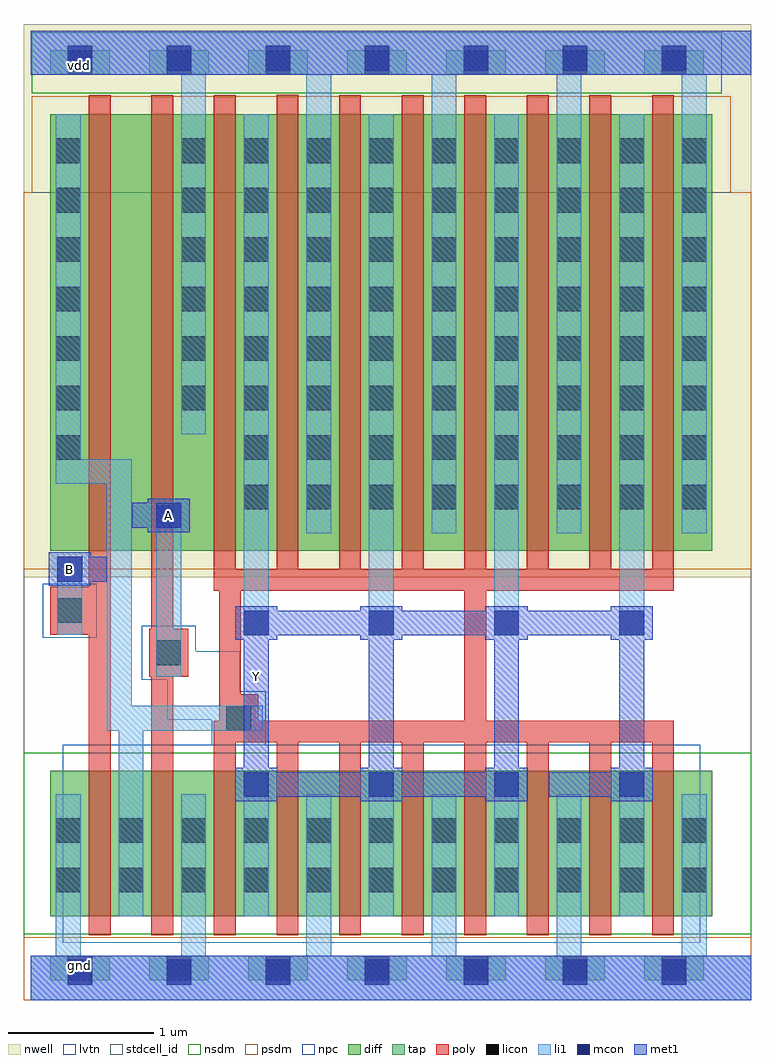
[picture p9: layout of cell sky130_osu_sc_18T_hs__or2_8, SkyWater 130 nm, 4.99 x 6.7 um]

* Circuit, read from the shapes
.subckt sky130_osu_sc_18T_hs__or2_8 A B Y gnd vdd
XM1 n1 B gnd gnd sky130_fd_pr__nfet_01v8_lvt w=1 l=0.15
XM2 gnd A n1 gnd sky130_fd_pr__nfet_01v8_lvt w=1 l=0.15
XM3 Y n1 gnd gnd sky130_fd_pr__nfet_01v8_lvt w=1 l=0.15 m=8
XM4 n2 B n1 vdd sky130_fd_pr__pfet_01v8 w=3 l=0.15
XM5 vdd A n2 vdd sky130_fd_pr__pfet_01v8 w=3 l=0.15
XM6 Y n1 vdd vdd sky130_fd_pr__pfet_01v8 w=3 l=0.15 m=8
.ends

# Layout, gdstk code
import gdstk
lib = gdstk.Library(unit=1e-6, precision=1e-09)
def R(c, l, rs):  # rectangles x0, y0, x1, y1
    for r in rs: c.add(gdstk.rectangle(r[:2], r[2:], *l))
nwell = (64, 20)
diff = (65, 20)
tap = (65, 44)
poly = (66, 20)
licon = (66, 44)
li1 = (67, 20)
mcon = (67, 44)
met1 = (68, 20)
stdcell_id = (81, 4)
nsdm = (93, 44)
psdm = (94, 20)
npc = (95, 20)
lvtn = (125, 44)

sky130_osu_sc_18t_hs__or = lib.new_cell('sky130_osu_sc_18T_hs__or2_8')
R(sky130_osu_sc_18t_hs__or, nwell, [(-0.045,2.905,4.95,6.705), (-0.045,2.905,4.95,6.705)])
R(sky130_osu_sc_18t_hs__or, diff, [(0.135,0.575,4.685,1.575), (0.135,0.575,4.685,1.575), (0.135,3.085,4.685,6.085), (0.135,3.085,4.685,6.085)])
R(sky130_osu_sc_18t_hs__or, tap, [(0.135,0.135,0.545,0.305), (0.135,0.135,0.545,0.305), (0.815,0.135,1.225,0.305), (0.815,0.135,1.225,0.305), (1.495,0.135,1.905,0.305), (1.495,0.135,1.905,0.305), (2.175,0.135,2.585,0.305), (2.175,0.135,2.585,0.305), (2.855,0.135,3.265,0.305), (2.855,0.135,3.265,0.305), (3.535,0.135,3.945,0.305), (3.535,0.135,3.945,0.305), (4.215,0.135,4.625,0.305), (4.215,0.135,4.625,0.305), (0.135,6.355,0.545,6.525), (0.135,6.355,0.545,6.525), (0.815,6.355,1.225,6.525), (0.815,6.355,1.225,6.525), (1.495,6.355,1.905,6.525), (1.495,6.355,1.905,6.525), (2.175,6.355,2.585,6.525), (2.175,6.355,2.585,6.525), (2.855,6.355,3.265,6.525), (2.855,6.355,3.265,6.525), (3.535,6.355,3.945,6.525), (3.535,6.355,3.945,6.525), (4.215,6.355,4.625,6.525), (4.215,6.355,4.625,6.525)])
R(sky130_osu_sc_18t_hs__or, poly, [(0.4,0.445,0.55,2.51), (0.4,0.445,0.55,2.51), (0.83,0.445,0.98,2.22), (0.83,0.445,0.98,2.22), (1.26,0.445,1.41,1.77), (1.26,0.445,1.41,1.77), (1.69,0.445,1.84,1.77), (1.69,0.445,1.84,1.77), (2.12,0.445,2.27,1.77), (2.12,0.445,2.27,1.77), (2.55,0.445,2.7,1.77), (2.55,0.445,2.7,1.77), (2.98,0.445,3.13,1.77), (2.98,0.445,3.13,1.77), (3.41,0.445,3.56,1.77), (3.41,0.445,3.56,1.77), (3.84,0.445,3.99,1.77), (3.84,0.445,3.99,1.77), (4.27,0.445,4.42,1.77), (4.27,0.445,4.42,1.77), (1.26,1.77,4.42,1.92), (1.26,1.77,4.42,1.92), (1.295,1.92,1.565,2.1), (1.295,1.92,1.565,2.1), (2.98,1.92,3.13,2.81), (2.98,1.92,3.13,2.81), (1.295,2.1,1.445,2.81), (1.295,2.1,1.445,2.81), (0.815,2.22,1.085,2.55), (0.815,2.22,1.085,2.55), (0.135,2.51,0.55,2.84), (0.135,2.51,0.55,2.84), (0.83,2.55,0.98,6.215), (0.83,2.55,0.98,6.215), (1.26,2.81,4.42,2.96), (1.26,2.81,4.42,2.96), (0.4,2.84,0.55,6.215), (0.4,2.84,0.55,6.215), (1.26,2.96,1.41,6.215), (1.26,2.96,1.41,6.215), (1.69,2.96,1.84,6.22), (1.69,2.96,1.84,6.22), (2.12,2.96,2.27,6.215), (2.12,2.96,2.27,6.215), (2.55,2.96,2.7,6.215), (2.55,2.96,2.7,6.215), (2.98,2.96,3.13,6.215), (2.98,2.96,3.13,6.215), (3.41,2.96,3.56,6.215), (3.41,2.96,3.56,6.215), (3.84,2.96,3.99,6.215), (3.84,2.96,3.99,6.215), (4.27,2.96,4.42,6.215), (4.27,2.96,4.42,6.215)])
R(sky130_osu_sc_18t_hs__or, licon, [(0.255,0.135,0.425,0.305), (0.255,0.135,0.425,0.305), (0.935,0.135,1.105,0.305), (0.935,0.135,1.105,0.305), (1.615,0.135,1.785,0.305), (1.615,0.135,1.785,0.305), (2.295,0.135,2.465,0.305), (2.295,0.135,2.465,0.305), (2.975,0.135,3.145,0.305), (2.975,0.135,3.145,0.305), (3.655,0.135,3.825,0.305), (3.655,0.135,3.825,0.305), (4.335,0.135,4.505,0.305), (4.335,0.135,4.505,0.305), (0.175,0.74,0.345,0.91), (0.175,0.74,0.345,0.91), (0.605,0.74,0.775,0.91), (0.605,0.74,0.775,0.91), (1.035,0.74,1.205,0.91), (1.035,0.74,1.205,0.91), (1.465,0.74,1.635,0.91), (1.465,0.74,1.635,0.91), (1.895,0.74,2.065,0.91), (1.895,0.74,2.065,0.91), (2.325,0.74,2.495,0.91), (2.325,0.74,2.495,0.91), (2.755,0.74,2.925,0.91), (2.755,0.74,2.925,0.91), (3.185,0.74,3.355,0.91), (3.185,0.74,3.355,0.91), (3.615,0.74,3.785,0.91), (3.615,0.74,3.785,0.91), (4.045,0.74,4.215,0.91), (4.045,0.74,4.215,0.91), (4.475,0.74,4.645,0.91), (4.475,0.74,4.645,0.91), (0.175,1.08,0.345,1.25), (0.175,1.08,0.345,1.25), (0.605,1.08,0.775,1.25), (0.605,1.08,0.775,1.25), (1.035,1.08,1.205,1.25), (1.035,1.08,1.205,1.25), (1.465,1.08,1.635,1.25), (1.465,1.08,1.635,1.25), (1.895,1.08,2.065,1.25), (1.895,1.08,2.065,1.25), (2.325,1.08,2.495,1.25), (2.325,1.08,2.495,1.25), (2.755,1.08,2.925,1.25), (2.755,1.08,2.925,1.25), (3.185,1.08,3.355,1.25), (3.185,1.08,3.355,1.25), (3.615,1.08,3.785,1.25), (3.615,1.08,3.785,1.25), (4.045,1.08,4.215,1.25), (4.045,1.08,4.215,1.25), (4.475,1.08,4.645,1.25), (4.475,1.08,4.645,1.25), (1.345,1.85,1.515,2.02), (1.345,1.85,1.515,2.02), (0.865,2.3,1.035,2.47), (0.865,2.3,1.035,2.47), (0.185,2.59,0.355,2.76), (0.185,2.59,0.355,2.76), (1.465,3.37,1.635,3.54), (1.465,3.37,1.635,3.54), (1.895,3.37,2.065,3.54), (1.895,3.37,2.065,3.54), (2.325,3.37,2.495,3.54), (2.325,3.37,2.495,3.54), (2.755,3.37,2.925,3.54), (2.755,3.37,2.925,3.54), (3.185,3.37,3.355,3.54), (3.185,3.37,3.355,3.54), (3.615,3.37,3.785,3.54), (3.615,3.37,3.785,3.54), (4.045,3.37,4.215,3.54), (4.045,3.37,4.215,3.54), (4.475,3.37,4.645,3.54), (4.475,3.37,4.645,3.54), (0.175,3.71,0.345,3.88), (0.175,3.71,0.345,3.88), (1.465,3.71,1.635,3.88), (1.465,3.71,1.635,3.88), (1.895,3.71,2.065,3.88), (1.895,3.71,2.065,3.88), (2.325,3.71,2.495,3.88), (2.325,3.71,2.495,3.88), (2.755,3.71,2.925,3.88), (2.755,3.71,2.925,3.88), (3.185,3.71,3.355,3.88), (3.185,3.71,3.355,3.88), (3.615,3.71,3.785,3.88), (3.615,3.71,3.785,3.88), (4.045,3.71,4.215,3.88), (4.045,3.71,4.215,3.88), (4.475,3.71,4.645,3.88), (4.475,3.71,4.645,3.88), (0.175,4.05,0.345,4.22), (0.175,4.05,0.345,4.22), (1.035,4.05,1.205,4.22), (1.035,4.05,1.205,4.22), (1.465,4.05,1.635,4.22), (1.465,4.05,1.635,4.22), (1.895,4.05,2.065,4.22), (1.895,4.05,2.065,4.22), (2.325,4.05,2.495,4.22), (2.325,4.05,2.495,4.22), (2.755,4.05,2.925,4.22), (2.755,4.05,2.925,4.22), (3.185,4.05,3.355,4.22), (3.185,4.05,3.355,4.22), (3.615,4.05,3.785,4.22), (3.615,4.05,3.785,4.22), (4.045,4.05,4.215,4.22), (4.045,4.05,4.215,4.22), (4.475,4.05,4.645,4.22), (4.475,4.05,4.645,4.22), (0.175,4.39,0.345,4.56), (0.175,4.39,0.345,4.56), (1.035,4.39,1.205,4.56), (1.035,4.39,1.205,4.56), (1.465,4.39,1.635,4.56), (1.465,4.39,1.635,4.56), (1.895,4.39,2.065,4.56), (1.895,4.39,2.065,4.56), (2.325,4.39,2.495,4.56), (2.325,4.39,2.495,4.56), (2.755,4.39,2.925,4.56), (2.755,4.39,2.925,4.56), (3.185,4.39,3.355,4.56), (3.185,4.39,3.355,4.56), (3.615,4.39,3.785,4.56), (3.615,4.39,3.785,4.56), (4.045,4.39,4.215,4.56), (4.045,4.39,4.215,4.56), (4.475,4.39,4.645,4.56), (4.475,4.39,4.645,4.56), (0.175,4.73,0.345,4.9), (0.175,4.73,0.345,4.9), (1.035,4.73,1.205,4.9), (1.035,4.73,1.205,4.9), (1.465,4.73,1.635,4.9), (1.465,4.73,1.635,4.9), (1.895,4.73,2.065,4.9), (1.895,4.73,2.065,4.9), (2.325,4.73,2.495,4.9), (2.325,4.73,2.495,4.9), (2.755,4.73,2.925,4.9), (2.755,4.73,2.925,4.9), (3.185,4.73,3.355,4.9), (3.185,4.73,3.355,4.9), (3.615,4.73,3.785,4.9), (3.615,4.73,3.785,4.9), (4.045,4.73,4.215,4.9), (4.045,4.73,4.215,4.9), (4.475,4.73,4.645,4.9), (4.475,4.73,4.645,4.9), (0.175,5.07,0.345,5.24), (0.175,5.07,0.345,5.24), (1.035,5.07,1.205,5.24), (1.035,5.07,1.205,5.24), (1.465,5.07,1.635,5.24), (1.465,5.07,1.635,5.24), (1.895,5.07,2.065,5.24), (1.895,5.07,2.065,5.24), (2.325,5.07,2.495,5.24), (2.325,5.07,2.495,5.24), (2.755,5.07,2.925,5.24), (2.755,5.07,2.925,5.24), (3.185,5.07,3.355,5.24), (3.185,5.07,3.355,5.24), (3.615,5.07,3.785,5.24), (3.615,5.07,3.785,5.24), (4.045,5.07,4.215,5.24), (4.045,5.07,4.215,5.24), (4.475,5.07,4.645,5.24), (4.475,5.07,4.645,5.24), (0.175,5.41,0.345,5.58), (0.175,5.41,0.345,5.58), (1.035,5.41,1.205,5.58), (1.035,5.41,1.205,5.58), (1.465,5.41,1.635,5.58), (1.465,5.41,1.635,5.58), (1.895,5.41,2.065,5.58), (1.895,5.41,2.065,5.58), (2.325,5.41,2.495,5.58), (2.325,5.41,2.495,5.58), (2.755,5.41,2.925,5.58), (2.755,5.41,2.925,5.58), (3.185,5.41,3.355,5.58), (3.185,5.41,3.355,5.58), (3.615,5.41,3.785,5.58), (3.615,5.41,3.785,5.58), (4.045,5.41,4.215,5.58), (4.045,5.41,4.215,5.58), (4.475,5.41,4.645,5.58), (4.475,5.41,4.645,5.58), (0.175,5.75,0.345,5.92), (0.175,5.75,0.345,5.92), (1.035,5.75,1.205,5.92), (1.035,5.75,1.205,5.92), (1.465,5.75,1.635,5.92), (1.465,5.75,1.635,5.92), (1.895,5.75,2.065,5.92), (1.895,5.75,2.065,5.92), (2.325,5.75,2.495,5.92), (2.325,5.75,2.495,5.92), (2.755,5.75,2.925,5.92), (2.755,5.75,2.925,5.92), (3.185,5.75,3.355,5.92), (3.185,5.75,3.355,5.92), (3.615,5.75,3.785,5.92), (3.615,5.75,3.785,5.92), (4.045,5.75,4.215,5.92), (4.045,5.75,4.215,5.92), (4.475,5.75,4.645,5.92), (4.475,5.75,4.645,5.92), (0.255,6.355,0.425,6.525), (0.255,6.355,0.425,6.525), (0.935,6.355,1.105,6.525), (0.935,6.355,1.105,6.525), (1.615,6.355,1.785,6.525), (1.615,6.355,1.785,6.525), (2.295,6.355,2.465,6.525), (2.295,6.355,2.465,6.525), (2.975,6.355,3.145,6.525), (2.975,6.355,3.145,6.525), (3.655,6.355,3.825,6.525), (3.655,6.355,3.825,6.525), (4.335,6.355,4.505,6.525), (4.335,6.355,4.505,6.525)])
R(sky130_osu_sc_18t_hs__or, li1, [(0,0,4.95,0.305), (0,0,4.95,0.305), (0.175,0.305,0.345,1.415), (0.175,0.305,0.345,1.415), (1.035,0.305,1.205,1.415), (1.035,0.305,1.205,1.415), (1.895,0.305,2.065,1.415), (1.895,0.305,2.065,1.415), (2.755,0.305,2.925,1.415), (2.755,0.305,2.925,1.415), (3.615,0.305,3.785,1.415), (3.615,0.305,3.785,1.415), (4.475,0.305,4.645,1.415), (4.475,0.305,4.645,1.415), (0.605,0.575,0.775,1.85), (0.605,0.575,0.775,1.85), (1.465,0.575,1.635,1.565), (1.465,0.575,1.635,1.565), (2.325,0.575,2.495,1.565), (2.325,0.575,2.495,1.565), (3.185,0.575,3.355,1.565), (3.185,0.575,3.355,1.565), (4.045,0.575,4.215,1.565), (4.045,0.575,4.215,1.565), (0.525,1.85,1.595,2.02), (0.525,1.85,1.595,2.02), (0.525,2.02,0.695,3.545), (0.525,2.02,0.695,3.545), (0.865,2.22,1.035,3.415), (0.865,2.22,1.035,3.415), (1.465,2.505,1.635,6.085), (1.465,2.505,1.635,6.085), (2.325,2.505,2.495,6.085), (2.325,2.505,2.495,6.085), (3.185,2.505,3.355,6.085), (3.185,2.505,3.355,6.085), (4.045,2.505,4.215,6.085), (4.045,2.505,4.215,6.085), (0.185,2.51,0.355,3.045), (0.185,2.51,0.355,3.045), (1.895,3.205,2.065,6.355), (1.895,3.205,2.065,6.355), (2.755,3.205,2.925,6.355), (2.755,3.205,2.925,6.355), (3.615,3.205,3.785,6.355), (3.615,3.205,3.785,6.355), (4.475,3.205,4.645,6.355), (4.475,3.205,4.645,6.355), (0.175,3.545,0.695,3.715), (0.175,3.545,0.695,3.715), (0.175,3.715,0.345,6.085), (0.175,3.715,0.345,6.085), (1.035,3.885,1.205,6.355), (1.035,3.885,1.205,6.355), (0,6.355,4.95,6.66), (0,6.355,4.95,6.66)])
R(sky130_osu_sc_18t_hs__or, mcon, [(0.255,0.105,0.425,0.275), (0.255,0.105,0.425,0.275), (0.935,0.105,1.105,0.275), (0.935,0.105,1.105,0.275), (1.615,0.105,1.785,0.275), (1.615,0.105,1.785,0.275), (2.295,0.105,2.465,0.275), (2.295,0.105,2.465,0.275), (2.975,0.105,3.145,0.275), (2.975,0.105,3.145,0.275), (3.655,0.105,3.825,0.275), (3.655,0.105,3.825,0.275), (4.335,0.105,4.505,0.275), (4.335,0.105,4.505,0.275), (1.465,1.395,1.635,1.565), (1.465,1.395,1.635,1.565), (2.325,1.395,2.495,1.565), (2.325,1.395,2.495,1.565), (3.185,1.395,3.355,1.565), (3.185,1.395,3.355,1.565), (4.045,1.395,4.215,1.565), (4.045,1.395,4.215,1.565), (1.465,2.505,1.635,2.675), (1.465,2.505,1.635,2.675), (2.325,2.505,2.495,2.675), (2.325,2.505,2.495,2.675), (3.185,2.505,3.355,2.675), (3.185,2.505,3.355,2.675), (4.045,2.505,4.215,2.675), (4.045,2.505,4.215,2.675), (0.185,2.875,0.355,3.045), (0.185,2.875,0.355,3.045), (0.865,3.245,1.035,3.415), (0.865,3.245,1.035,3.415), (0.255,6.385,0.425,6.555), (0.255,6.385,0.425,6.555), (0.935,6.385,1.105,6.555), (0.935,6.385,1.105,6.555), (1.615,6.385,1.785,6.555), (1.615,6.385,1.785,6.555), (2.295,6.385,2.465,6.555), (2.295,6.385,2.465,6.555), (2.975,6.385,3.145,6.555), (2.975,6.385,3.145,6.555), (3.655,6.385,3.825,6.555), (3.655,6.385,3.825,6.555), (4.335,6.385,4.505,6.555), (4.335,6.385,4.505,6.555)])
R(sky130_osu_sc_18t_hs__or, met1, [(0,0,4.95,0.305), (0,0,4.95,0.305), (1.405,1.365,1.695,1.395), (1.405,1.365,1.695,1.395), (2.265,1.365,2.555,1.395), (2.265,1.365,2.555,1.395), (3.125,1.365,3.415,1.395), (3.125,1.365,3.415,1.395), (3.985,1.365,4.275,1.395), (3.985,1.365,4.275,1.395), (1.405,1.395,3.415,1.565), (1.405,1.395,3.415,1.565), (3.56,1.395,4.275,1.565), (3.56,1.395,4.275,1.565), (1.405,1.565,1.695,1.595), (1.405,1.565,1.695,1.595), (2.265,1.565,2.555,1.595), (2.265,1.565,2.555,1.595), (3.125,1.565,3.415,1.595), (3.125,1.565,3.415,1.595), (3.985,1.565,4.275,1.595), (3.985,1.565,4.275,1.595), (1.465,1.595,1.635,2.475), (1.465,1.595,1.635,2.475), (2.325,1.595,2.495,2.475), (2.325,1.595,2.495,2.475), (3.185,1.595,3.355,2.475), (3.185,1.595,3.355,2.475), (4.045,1.595,4.215,2.475), (4.045,1.595,4.215,2.475), (1.405,2.475,1.695,2.505), (1.405,2.475,1.695,2.505), (2.265,2.475,2.555,2.505), (2.265,2.475,2.555,2.505), (3.125,2.475,3.415,2.505), (3.125,2.475,3.415,2.505), (3.985,2.475,4.275,2.505), (3.985,2.475,4.275,2.505), (1.405,2.505,4.275,2.675), (1.405,2.505,4.275,2.675), (1.405,2.675,1.695,2.705), (1.405,2.675,1.695,2.705), (2.265,2.675,2.555,2.705), (2.265,2.675,2.555,2.705), (3.125,2.675,3.415,2.705), (3.125,2.675,3.415,2.705), (3.985,2.675,4.275,2.705), (3.985,2.675,4.275,2.705), (0.125,2.845,0.415,2.875), (0.125,2.845,0.415,2.875), (0.125,2.875,0.525,3.045), (0.125,2.875,0.525,3.045), (0.125,3.045,0.415,3.075), (0.125,3.045,0.415,3.075), (0.805,3.215,1.095,3.245), (0.805,3.215,1.095,3.245), (0.7,3.245,1.095,3.415), (0.7,3.245,1.095,3.415), (0.805,3.415,1.095,3.445), (0.805,3.415,1.095,3.445), (0,6.355,4.95,6.66), (0,6.355,4.95,6.66)])
R(sky130_osu_sc_18t_hs__or, stdcell_id, [(-0.045,0,4.95,5.55), (-0.045,0,4.95,5.55)])
R(sky130_osu_sc_18t_hs__or, nsdm, [(-0.045,0.45,4.95,1.7), (-0.045,0.45,4.95,1.7), (0.01,6.23,4.75,6.65), (0.01,6.23,4.75,6.65)])
R(sky130_osu_sc_18t_hs__or, psdm, [(-0.045,0,4.95,0.43), (-0.045,0,4.95,0.43), (-0.045,2.96,4.95,5.55), (-0.045,2.96,4.95,5.55), (0.01,5.55,4.81,6.21), (0.01,5.55,4.81,6.21)])
R(sky130_osu_sc_18t_hs__or, npc, [(1.245,1.75,1.615,1.925), (1.245,1.75,1.615,1.925), (0.94,1.925,1.615,2.12), (0.94,1.925,1.615,2.12), (0.94,2.12,1.44,2.2), (0.94,2.12,1.44,2.2), (0.765,2.2,1.44,2.395), (0.765,2.2,1.44,2.395), (0.765,2.395,1.135,2.57), (0.765,2.395,1.135,2.57), (0.085,2.49,0.455,2.86), (0.085,2.49,0.455,2.86)])
R(sky130_osu_sc_18t_hs__or, lvtn, [(0.22,0.395,4.6,1.755), (0.22,0.395,4.6,1.755)])
sky130_osu_sc_18t_hs__or.add(gdstk.Label('gnd', (0.34,0.24), layer=68, texttype=16))
sky130_osu_sc_18t_hs__or.add(gdstk.Label('vdd', (0.34,6.42), layer=68, texttype=16))
sky130_osu_sc_18t_hs__or.add(gdstk.Label('gnd', (0.34,0.24), layer=68, texttype=16))
sky130_osu_sc_18t_hs__or.add(gdstk.Label('vdd', (0.34,6.42), layer=68, texttype=16))
sky130_osu_sc_18t_hs__or.add(gdstk.Label('Y', (1.555,2.22), layer=68, texttype=5))
sky130_osu_sc_18t_hs__or.add(gdstk.Label('A', (0.95,3.33), layer=68, texttype=5))
sky130_osu_sc_18t_hs__or.add(gdstk.Label('B', (0.27,2.96), layer=68, texttype=5))
sky130_osu_sc_18t_hs__or.add(gdstk.Label('Y', (1.555,2.22), layer=68, texttype=5))
sky130_osu_sc_18t_hs__or.add(gdstk.Label('A', (0.95,3.33), layer=68, texttype=5))
sky130_osu_sc_18t_hs__or.add(gdstk.Label('B', (0.27,2.96), layer=68, texttype=5))

lib.write_gds('sky130_osu_sc_18T_hs__or2_8.gds')
